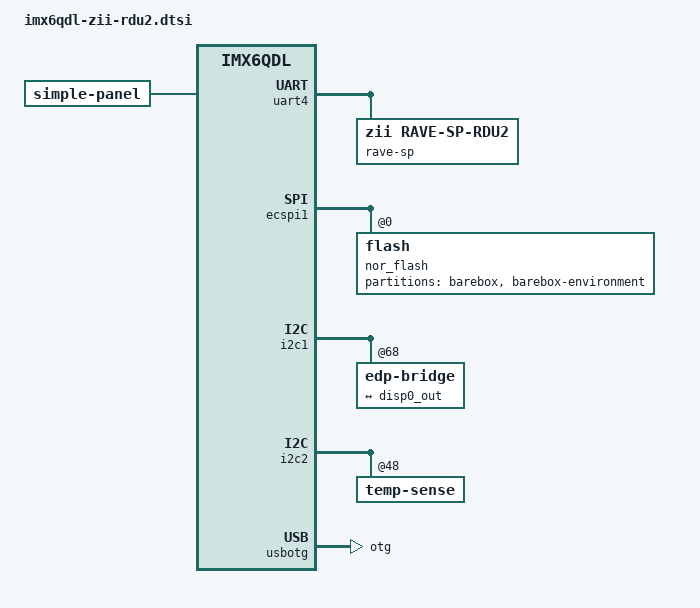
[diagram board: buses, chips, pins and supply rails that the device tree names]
/*
 * Copyright (C) 2016-2017 Zodiac Inflight Innovations
 *
 * This file is dual-licensed: you can use it either under the terms
 * of the GPL or the X11 license, at your option. Note that this dual
 * licensing only applies to this file, and not this project as a
 * whole.
 *
 *  a) This file is free software; you can redistribute it and/or
 *     modify it under the terms of the GNU General Public License
 *     version 2 as published by the Free Software Foundation.
 *
 *     This file is distributed in the hope that it will be useful,
 *     but WITHOUT ANY WARRANTY; without even the implied warranty of
 *     MERCHANTABILITY or FITNESS FOR A PARTICULAR PURPOSE.  See the
 *     GNU General Public License for more details.
 *
 * Or, alternatively,
 *
 *  b) Permission is hereby granted, free of charge, to any person
 *     obtaining a copy of this software and associated documentation
 *     files (the "Software"), to deal in the Software without
 *     restriction, including without limitation the rights to use,
 *     copy, modify, merge, publish, distribute, sublicense, and/or
 *     sell copies of the Software, and to permit persons to whom the
 *     Software is furnished to do so, subject to the following
 *     conditions:
 *
 *     The above copyright notice and this permission notice shall be
 *     included in all copies or substantial portions of the Software.
 *
 *     THE SOFTWARE IS PROVIDED , WITHOUT WARRANTY OF ANY KIND,
 *     EXPRESS OR IMPLIED, INCLUDING BUT NOT LIMITED TO THE WARRANTIES
 *     OF MERCHANTABILITY, FITNESS FOR A PARTICULAR PURPOSE AND
 *     NONINFRINGEMENT. IN NO EVENT SHALL THE AUTHORS OR COPYRIGHT
 *     HOLDERS BE LIABLE FOR ANY CLAIM, DAMAGES OR OTHER LIABILITY,
 *     WHETHER IN AN ACTION OF CONTRACT, TORT OR OTHERWISE, ARISING
 *     FROM, OUT OF OR IN CONNECTION WITH THE SOFTWARE OR THE USE OR
 *     OTHER DEALINGS IN THE SOFTWARE.
 */

#include <arm/imx6qdl-zii-rdu2.dtsi>

/ {
	chosen {
		environment@0 {
			compatible = "barebox,environment";
			device-path = &nor_flash, "partname:barebox-environment";
		};
	};

	aliases {
		ethernet0 = &fec;
		ethernet1 = &i210;
		main-eeprom = &main_eeprom;
		dds-eeprom = &dds_eeprom;
	};

	panel {
		compatible = "simple-panel";
		/* Timings for all supported panels, the correct one is enabled
		 * after the board data has been retrieved from the environment
		 * controller
		*/
		nvmem-cells = <&lcd_type>;
		nvmem-cell-names = "lcd-type";

		display-timings {
			innolux-g121i1-l01 {
				compatible = "innolux,g121i1-l01";

				hback-porch = <79>;
				hfront-porch = <80>;
				hactive = <1280>;
				hsync-len = <1>;
				vback-porch = <11>;
				vfront-porch = <11>;
				vactive = <800>;
				vsync-len = <1>;
				clock-frequency = <71000000>;
			};
			nec-nl12880bc20-05 {
				compatible = "nec,nl12880bc20-05";

				hback-porch = <100>;
				hfront-porch = <30>;
				hactive = <1280>;
				hsync-len = <30>;
				vback-porch = <11>;
				vfront-porch = <5>;
				vactive = <800>;
				vsync-len = <7>;
				clock-frequency = <71000000>;
			};
			auo-g133han01 {
				compatible = "auo,g133han01";

				hback-porch = <88>;
				hfront-porch = <58>;
				hactive = <1920>;
				hsync-len = <42>;
				vback-porch = <14>;
				vfront-porch = <8>;
				vactive = <1080>;
				vsync-len = <14>;
				clock-frequency = <141200000>;
			};
			auo-g185han01 {
				compatible = "auo,g185han01";

				hback-porch = <44>;
				hfront-porch = <60>;
				hactive = <1920>;
				hsync-len = <24>;
				vback-porch = <5>;
				vfront-porch = <10>;
				vactive = <1080>;
				vsync-len = <5>;
				clock-frequency = <144000000>;
			};
			nlt-nl192108ac18-02d {
				compatible = "nlt,nl192108ac18-02d";

				hback-porch = <120>;
				hfront-porch = <100>;
				hactive = <1920>;
				hsync-len = <60>;
				vback-porch = <10>;
				vfront-porch = <30>;
				vactive = <1080>;
				vsync-len = <5>;
				clock-frequency = <148350000>;
			};
			auo-p320hvn03 {
				compatible = "auo,p320hvn03";

				hback-porch = <50>;
				hfront-porch = <50>;
				hactive = <1920>;
				hsync-len = <40>;
				vback-porch = <17>;
				vfront-porch = <17>;
				vactive = <1080>;
				vsync-len = <11>;
				clock-frequency = <148500000>;
			};
		};
	};
};

&uart4 {
	rave-sp {
		compatible = "zii,rave-sp-rdu2";
		current-speed = <1000000>;

		#address-cells = <1>;
		#size-cells = <1>;

		dds_eeprom: eeprom@a3 {
			compatible = "zii,rave-sp-eeprom";
			reg = <0xa3 0x4000>;
		};

		main_eeprom: eeprom@a4 {
			compatible = "zii,rave-sp-eeprom";
			reg = <0xa4 0x4000>;
			#address-cells = <1>;
			#size-cells = <1>;

			mac_address_0: mac-address@180 {
				reg = <0x180 6>;
			};

			mac_address_1: mac-address@190 {
				reg = <0x190 6>;
			};
		};

		watchdog {
			compatible = "zii,rave-sp-watchdog";
		};

		parameters {
			compatible = "zii,rave-sp-parameters";
			#address-cells = <1>;
			#size-cells = <1>;

			ip_address0: ip-address@0 {
				reg = <0 8>;
			};

			lcd_type: lcd-type@8 {
				reg = <8 1>;
			};
		};
	};
};

&ecspi1 {
	nor_flash: flash@0 {
		#address-cells = <1>;
		#size-cells = <1>;

		partition@0 {
			label = "barebox";
			reg = <0x0 0xc0000>;
		};

		partition@c0000 {
			label = "barebox-environment";
			reg = <0xc0000 0x40000>;
		};
	};
};

&fec {
	nvmem-cells = <&mac_address_0 &ip_address0>;
	nvmem-cell-names = "mac-address", "ip-address";
};

&i2c1 {
	edp-bridge@68 {
		pinctrl-0 = <&pinctrl_tc358767>, <&pinctrl_disp0>;

		ports {
			port@1 {
				reg = <1>;

				tc358767_in: endpoint {
					remote-endpoint = <&disp0_out>;
				};
			};
		};
	};
};

&i2c2 {
	temp-sense@48 {
		barebox,sensor-name = "Temp Sensor 1";
	};
};

&ipu1_di0_disp0 {
	remote-endpoint = <&tc358767_in>;
};

&pcie {
	host@0 {
		#address-cells = <3>;
		#size-cells = <2>;
		reg = <0 0 0 0 0>;
		device_type = "pci";

		i210: i210@0 {
			reg = <0 0 0 0 0>;
			nvmem-cells = <&mac_address_1>;
			nvmem-cell-names = "mac-address";
		};
	};
};

&usbotg {
	dr_mode = "otg";
};

&ldb {
	lvds-channel@0 {
		fsl,data-width = <24>;
	};
};
